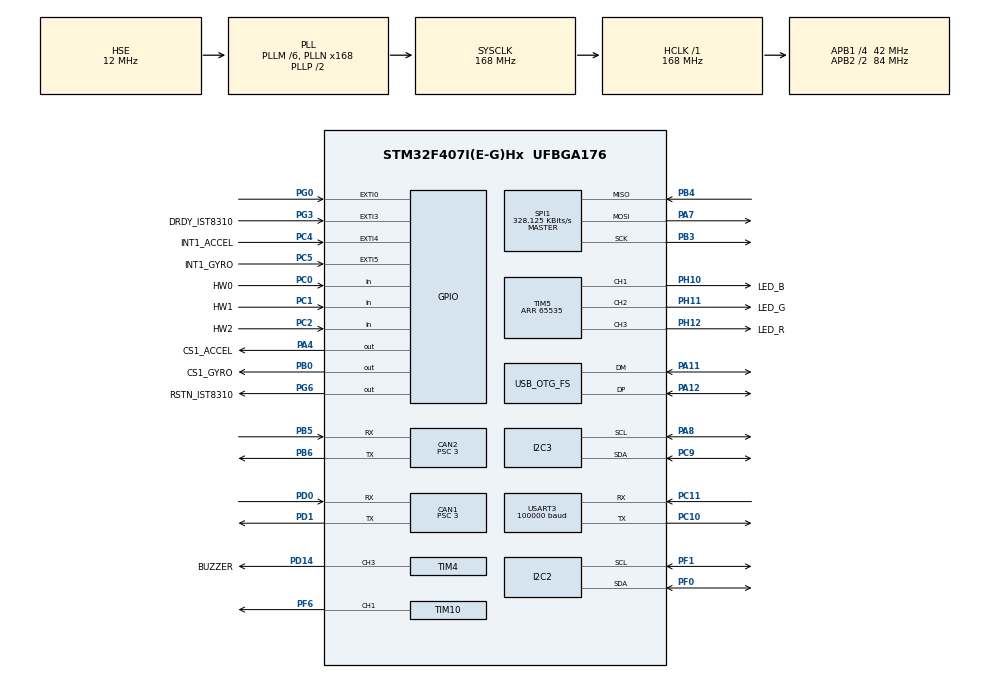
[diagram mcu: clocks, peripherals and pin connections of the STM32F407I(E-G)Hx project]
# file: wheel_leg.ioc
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CAN1.BS1=CAN_BS1_10TQ
CAN1.BS2=CAN_BS2_3TQ
CAN1.CalculateBaudRate=1000000
CAN1.CalculateTimeBit=1000
CAN1.CalculateTimeQuantum=71.42857142857143
CAN1.NART=ENABLE
CAN1.Prescaler=3
CAN2.BS1=CAN_BS1_10TQ
CAN2.BS2=CAN_BS2_3TQ
CAN2.CalculateBaudRate=1000000
CAN2.CalculateTimeBit=1000
CAN2.CalculateTimeQuantum=71.42857142857143
CAN2.NART=ENABLE
CAN2.Prescaler=3
Dma.Request0=USART3_RX
Dma.Request1=SPI1_RX
Dma.Request2=SPI1_TX
Dma.SPI1_RX.1.Direction=DMA_PERIPH_TO_MEMORY
Dma.SPI1_RX.1.FIFOMode=DMA_FIFOMODE_DISABLE
Dma.SPI1_RX.1.Instance=DMA2_Stream2
Dma.SPI1_RX.1.MemDataAlignment=DMA_MDATAALIGN_BYTE
Dma.SPI1_RX.1.MemInc=DMA_MINC_ENABLE
Dma.SPI1_RX.1.Mode=DMA_NORMAL
Dma.SPI1_RX.1.PeriphDataAlignment=DMA_PDATAALIGN_BYTE
Dma.SPI1_RX.1.PeriphInc=DMA_PINC_DISABLE
Dma.SPI1_RX.1.Priority=DMA_PRIORITY_VERY_HIGH
Dma.SPI1_TX.2.Direction=DMA_MEMORY_TO_PERIPH
Dma.SPI1_TX.2.FIFOMode=DMA_FIFOMODE_DISABLE
Dma.SPI1_TX.2.Instance=DMA2_Stream3
Dma.SPI1_TX.2.MemDataAlignment=DMA_MDATAALIGN_BYTE
Dma.SPI1_TX.2.MemInc=DMA_MINC_ENABLE
Dma.SPI1_TX.2.Mode=DMA_NORMAL
Dma.SPI1_TX.2.PeriphDataAlignment=DMA_PDATAALIGN_BYTE
Dma.SPI1_TX.2.PeriphInc=DMA_PINC_DISABLE
Dma.SPI1_TX.2.Priority=DMA_PRIORITY_HIGH
Dma.USART3_RX.0.Direction=DMA_PERIPH_TO_MEMORY
Dma.USART3_RX.0.FIFOMode=DMA_FIFOMODE_DISABLE
Dma.USART3_RX.0.Instance=DMA1_Stream1
Dma.USART3_RX.0.MemDataAlignment=DMA_MDATAALIGN_BYTE
Dma.USART3_RX.0.MemInc=DMA_MINC_ENABLE
Dma.USART3_RX.0.Mode=DMA_NORMAL
Dma.USART3_RX.0.PeriphDataAlignment=DMA_PDATAALIGN_BYTE
Dma.USART3_RX.0.PeriphInc=DMA_PINC_DISABLE
Dma.USART3_RX.0.Priority=DMA_PRIORITY_VERY_HIGH
FREERTOS.INCLUDE_eTaskGetState=1
FREERTOS.INCLUDE_pcTaskGetTaskName=1
FREERTOS.INCLUDE_uxTaskGetStackHighWaterMark=1
FREERTOS.INCLUDE_uxTaskGetStackHighWaterMark2=0
FREERTOS.INCLUDE_vTaskCleanUpResources=1
FREERTOS.INCLUDE_vTaskDelayUntil=1
FREERTOS.INCLUDE_xEventGroupSetBitFromISR=1
FREERTOS.INCLUDE_xQueueGetMutexHolder=1
FREERTOS.INCLUDE_xSemaphoreGetMutexHolder=1
FREERTOS.INCLUDE_xTaskAbortDelay=1
FREERTOS.INCLUDE_xTaskGetCurrentTaskHandle=1
FREERTOS.INCLUDE_xTaskGetHandle=1
FREERTOS.INCLUDE_xTimerPendFunctionCall=1
FREERTOS.Tasks01=defaultTask,0,128,StartDefaultTask,Default,NULL,Dynamic,NULL,NULL
FREERTOS.configENABLE_FPU=1
FREERTOS.configGENERATE_RUN_TIME_STATS=0
FREERTOS.configTOTAL_HEAP_SIZE=24576
FREERTOS.configUSE_NEWLIB_REENTRANT=1
FREERTOS.configUSE_TIMERS=1
I2C3.I2C_Mode=I2C_Fast
Mcu.Family=STM32F4
Mcu.Name=STM32F407I(E-G)Hx
Mcu.Package=UFBGA176
NVIC.CAN1_RX0_IRQn=true\:5\:0\:false\:false\:true\:true\:true\:true\:true
NVIC.CAN1_TX_IRQn=true\:5\:0\:false\:false\:true\:true\:true\:true\:true
NVIC.CAN2_RX0_IRQn=true\:5\:0\:false\:false\:true\:true\:true\:true\:true
NVIC.CAN2_TX_IRQn=true\:5\:0\:false\:false\:true\:true\:true\:true\:true
NVIC.DMA1_Stream1_IRQn=true\:5\:0\:false\:false\:true\:true\:false\:true\:true
NVIC.DMA2_Stream2_IRQn=true\:5\:0\:false\:false\:true\:false\:false\:true\:true
NVIC.DMA2_Stream3_IRQn=true\:5\:0\:false\:false\:true\:true\:false\:true\:true
NVIC.EXTI0_IRQn=true\:5\:0\:false\:false\:true\:true\:true\:true\:true
NVIC.EXTI3_IRQn=true\:5\:0\:false\:false\:true\:true\:true\:true\:true
NVIC.EXTI4_IRQn=true\:5\:0\:false\:false\:true\:true\:true\:true\:true
NVIC.EXTI9_5_IRQn=true\:5\:0\:false\:false\:true\:false\:true\:true\:true
NVIC.OTG_FS_IRQn=true\:5\:0\:false\:false\:true\:true\:false\:true\:true
NVIC.PriorityGroup=NVIC_PRIORITYGROUP_4
NVIC.TIM2_IRQn=true\:15\:0\:false\:false\:true\:false\:false\:true\:true
NVIC.TimeBase=TIM2_IRQn
NVIC.TimeBaseIP=TIM2
NVIC.USART3_IRQn=true\:5\:0\:false\:false\:false\:true\:true\:true\:true
PA11.Mode=Device_Only
PA11.Signal=USB_OTG_FS_DM
PA12.Mode=Device_Only
PA12.Signal=USB_OTG_FS_DP
PA13.Mode=Serial_Wire
PA13.Signal=SYS_JTMS-SWDIO
PA14.Mode=Serial_Wire
PA14.Signal=SYS_JTCK-SWCLK
PA4.GPIO_Label=CS1_ACCEL
PA4.GPIO_PuPd=GPIO_PULLUP
PA4.GPIO_Speed=GPIO_SPEED_FREQ_HIGH
PA4.PinState=GPIO_PIN_SET
PA4.Signal=GPIO_Output
PA7.Mode=Full_Duplex_Master
PA7.Signal=SPI1_MOSI
PA8.Mode=I2C
PA8.Signal=I2C3_SCL
PB0.GPIO_Label=CS1_GYRO
PB0.GPIO_PuPd=GPIO_PULLUP
PB0.GPIO_Speed=GPIO_SPEED_FREQ_HIGH
PB0.PinState=GPIO_PIN_SET
PB0.Signal=GPIO_Output
PB3.Mode=Full_Duplex_Master
PB3.Signal=SPI1_SCK
PB4.Mode=Full_Duplex_Master
PB4.Signal=SPI1_MISO
PB5.Mode=CAN_Activate
PB5.Signal=CAN2_RX
PB6.Mode=CAN_Activate
PB6.Signal=CAN2_TX
PC0.GPIO_Label=HW0
PC0.Signal=GPIO_Input
PC1.GPIO_Label=HW1
PC1.Signal=GPIO_Input
PC10.Mode=Asynchronous
PC10.Signal=USART3_TX
PC11.Mode=Asynchronous
PC11.Signal=USART3_RX
PC2.GPIO_Label=HW2
PC2.Signal=GPIO_Input
PC4.GPIO_Label=INT1_ACCEL
PC4.GPIO_ModeDefaultEXTI=GPIO_MODE_IT_FALLING
PC4.GPIO_PuPd=GPIO_PULLUP
PC4.Signal=GPXTI4
PC5.GPIO_Label=INT1_GYRO
PC5.GPIO_ModeDefaultEXTI=GPIO_MODE_IT_FALLING
PC5.GPIO_PuPd=GPIO_PULLUP
PC5.Signal=GPXTI5
PC9.Mode=I2C
PC9.Signal=I2C3_SDA
PD0.Mode=CAN_Activate
PD0.Signal=CAN1_RX
PD1.Mode=CAN_Activate
PD1.Signal=CAN1_TX
PD14.GPIO_Label=BUZZER
PD14.GPIO_PuPd=GPIO_PULLUP
PD14.GPIO_Speed=GPIO_SPEED_FREQ_VERY_HIGH
PD14.Signal=S_TIM4_CH3
PF0.Mode=I2C
PF0.Signal=I2C2_SDA
PF1.Mode=I2C
PF1.Signal=I2C2_SCL
PF6.GPIO_PuPd=GPIO_PULLUP
PF6.GPIO_Speed=GPIO_SPEED_FREQ_HIGH
PF6.Signal=S_TIM10_CH1
PG0.GPIO_ModeDefaultEXTI=GPIO_MODE_IT_FALLING
PG0.GPIO_PuPd=GPIO_PULLUP
PG0.Signal=GPXTI0
PG3.GPIO_Label=DRDY_IST8310
PG3.GPIO_ModeDefaultEXTI=GPIO_MODE_IT_FALLING
PG3.GPIO_PuPd=GPIO_PULLUP
PG3.Signal=GPXTI3
PG6.GPIO_Label=RSTN_IST8310
PG6.GPIO_ModeDefaultOutputPP=GPIO_MODE_OUTPUT_PP
PG6.GPIO_PuPd=GPIO_PULLUP
PG6.GPIO_Speed=GPIO_SPEED_FREQ_MEDIUM
PG6.PinState=GPIO_PIN_SET
PG6.Signal=GPIO_Output
PH0-OSC_IN.Mode=HSE-External-Oscillator
PH0-OSC_IN.Signal=RCC_OSC_IN
PH1-OSC_OUT.Mode=HSE-External-Oscillator
PH1-OSC_OUT.Signal=RCC_OSC_OUT
PH10.GPIO_Label=LED_B
PH10.GPIO_PuPd=GPIO_PULLUP
PH10.GPIO_Speed=GPIO_SPEED_FREQ_HIGH
PH10.Signal=S_TIM5_CH1
PH11.GPIO_Label=LED_G
PH11.GPIO_PuPd=GPIO_PULLUP
PH11.GPIO_Speed=GPIO_SPEED_FREQ_HIGH
PH11.Signal=S_TIM5_CH2
PH12.GPIO_Label=LED_R
PH12.GPIO_PuPd=GPIO_PULLUP
PH12.GPIO_Speed=GPIO_SPEED_FREQ_HIGH
PH12.Signal=S_TIM5_CH3
ProjectManager.HeapSize=0x1000
ProjectManager.StackSize=0x1000
ProjectManager.TargetToolchain=STM32CubeIDE
RCC.48MHZClocksFreq_Value=48000000
RCC.AHBFreq_Value=168000000
RCC.APB1CLKDivider=RCC_HCLK_DIV4
RCC.APB1Freq_Value=42000000
RCC.APB1TimFreq_Value=84000000
RCC.APB2CLKDivider=RCC_HCLK_DIV2
RCC.APB2Freq_Value=84000000
RCC.APB2TimFreq_Value=168000000
RCC.CortexFreq_Value=168000000
RCC.HCLKFreq_Value=168000000
RCC.HSE_VALUE=12000000
RCC.HSI_VALUE=16000000
RCC.LSE_VALUE=32768
RCC.PLLM=6
RCC.PLLN=168
RCC.PLLQ=7
RCC.SYSCLKFreq_VALUE=168000000
RCC.SYSCLKSource=RCC_SYSCLKSOURCE_PLLCLK
RCC.VCOOutputFreq_Value=336000000
SH.S_TIM10_CH1.0=TIM10_CH1,PWM Generation1 CH1
SH.S_TIM4_CH3.0=TIM4_CH3,PWM Generation3 CH3
SH.S_TIM5_CH1.0=TIM5_CH1,PWM Generation1 CH1
SH.S_TIM5_CH2.0=TIM5_CH2,PWM Generation2 CH2
SH.S_TIM5_CH3.0=TIM5_CH3,PWM Generation3 CH3
SPI1.BaudRatePrescaler=SPI_BAUDRATEPRESCALER_256
SPI1.CLKPhase=SPI_PHASE_2EDGE
SPI1.CLKPolarity=SPI_POLARITY_HIGH
SPI1.CalculateBaudRate=328.125 KBits/s
SPI1.Direction=SPI_DIRECTION_2LINES
SPI1.Mode=SPI_MODE_MASTER
SPI1.VirtualType=VM_MASTER
STMicroelectronics.X-CUBE-ALGOBUILD.1.3.0.LibraryCcDSPOoLibraryJjDSPOoLibrary=true
TIM10.Channel=TIM_CHANNEL_1
TIM10.Period=4999
TIM10.Prescaler=0
TIM4.Channel-PWM\ Generation3\ CH3=TIM_CHANNEL_3
TIM4.Prescaler=167
TIM5.Channel-PWM\ Generation1\ CH1=TIM_CHANNEL_1
TIM5.Channel-PWM\ Generation2\ CH2=TIM_CHANNEL_2
TIM5.Channel-PWM\ Generation3\ CH3=TIM_CHANNEL_3
TIM5.Period=65535
USART3.BaudRate=100000
USART3.Parity=PARITY_EVEN
USART3.VirtualMode=VM_ASYNC
USB_DEVICE.CLASS_NAME_FS=CDC
USB_DEVICE.VirtualMode-CDC_FS=Cdc
USB_DEVICE.VirtualModeFS=Cdc_FS
USB_OTG_FS.VirtualMode=Device_Only
VP_FREERTOS_VS_CMSIS_V1.Mode=CMSIS_V1
VP_STMicroelectronics.X-CUBE-ALGOBUILD_VS_DSPOoLibraryJjLibrary_1.3.0_1.3.0.Mode=DSPOoLibraryJjLibrary
VP_SYS_VS_tim2.Mode=TIM2
VP_TIM10_VS_ClockSourceINT.Mode=Enable_Timer
VP_TIM4_VS_ClockSourceINT.Mode=Internal
VP_TIM5_VS_ClockSourceINT.Mode=Internal
VP_USB_DEVICE_VS_USB_DEVICE_CDC_FS.Mode=CDC_FS
board=custom

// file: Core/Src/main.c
/* USER CODE BEGIN Header */
/**
  ******************************************************************************
  * @file           : main.c
  * @brief          : Main program body
  ******************************************************************************
  * @attention
  *
  * Copyright (c) 2024 STMicroelectronics.
  * All rights reserved.
  *
  * This software is licensed under terms that can be found in the LICENSE file
  * in the root directory of this software component.
  * If no LICENSE file comes with this software, it is provided AS-IS.
  *
  ******************************************************************************
  */
/* USER CODE END Header */
#include "main.h"
#include "cmsis_os.h"
#include "can.h"
#include "dma.h"
#include "i2c.h"
#include "spi.h"
#include "tim.h"
#include "usart.h"
#include "usb_device.h"
#include "gpio.h"

/* USER CODE BEGIN Includes */
#include "delay.h"
#include "can_device.h"
#include "remote.h"
/* USER CODE END Includes */

void SystemClock_Config(void);
void MX_FREERTOS_Init(void);

int main(void)
{

  /* MCU Configuration--------------------------------------------------------*/

  /* Reset of all peripherals, Initializes the Flash interface and the Systick. */
  HAL_Init();

  /* Configure the system clock */
  SystemClock_Config();

  /* Initialize all configured peripherals */
  MX_GPIO_Init();
  MX_DMA_Init();
  MX_USART3_UART_Init();
  MX_CAN1_Init();
  MX_CAN2_Init();
  MX_SPI1_Init();
  MX_I2C3_Init();
  MX_TIM4_Init();
  MX_TIM5_Init();
  MX_TIM10_Init();
  MX_I2C2_Init();
  /* USER CODE BEGIN 2 */
  can_filter_init();
  delay_init();
  remote_control_init();
  /* USER CODE END 2 */

  /* Call init function for freertos objects (in freertos.c) */
  MX_FREERTOS_Init();

  /* Start scheduler */
  osKernelStart();

  /* We should never get here as control is now taken by the scheduler */
  /* Infinite loop */
  while (1)
  {

  }
}

void SystemClock_Config(void)
{
  RCC_OscInitTypeDef RCC_OscInitStruct = {0};
  RCC_ClkInitTypeDef RCC_ClkInitStruct = {0};

  /** Configure the main internal regulator output voltage
  */
  __HAL_RCC_PWR_CLK_ENABLE();
  __HAL_PWR_VOLTAGESCALING_CONFIG(PWR_REGULATOR_VOLTAGE_SCALE1);

  /** Initializes the RCC Oscillators according to the specified parameters
  * in the RCC_OscInitTypeDef structure.
  */
  RCC_OscInitStruct.OscillatorType = RCC_OSCILLATORTYPE_HSE;
  RCC_OscInitStruct.HSEState = RCC_HSE_ON;
  RCC_OscInitStruct.PLL.PLLState = RCC_PLL_ON;
  RCC_OscInitStruct.PLL.PLLSource = RCC_PLLSOURCE_HSE;
  RCC_OscInitStruct.PLL.PLLM = 6;
  RCC_OscInitStruct.PLL.PLLN = 168;
  RCC_OscInitStruct.PLL.PLLP = RCC_PLLP_DIV2;
  RCC_OscInitStruct.PLL.PLLQ = 7;
  if (HAL_RCC_OscConfig(&RCC_OscInitStruct) != HAL_OK)
  {
    Error_Handler();
  }

  /** Initializes the CPU, AHB and APB buses clocks
  */
  RCC_ClkInitStruct.ClockType = RCC_CLOCKTYPE_HCLK|RCC_CLOCKTYPE_SYSCLK
                              |RCC_CLOCKTYPE_PCLK1|RCC_CLOCKTYPE_PCLK2;
  RCC_ClkInitStruct.SYSCLKSource = RCC_SYSCLKSOURCE_PLLCLK;
  RCC_ClkInitStruct.AHBCLKDivider = RCC_SYSCLK_DIV1;
  RCC_ClkInitStruct.APB1CLKDivider = RCC_HCLK_DIV4;
  RCC_ClkInitStruct.APB2CLKDivider = RCC_HCLK_DIV2;

  if (HAL_RCC_ClockConfig(&RCC_ClkInitStruct, FLASH_LATENCY_5) != HAL_OK)
  {
    Error_Handler();
  }
}

void HAL_TIM_PeriodElapsedCallback(TIM_HandleTypeDef *htim)
{
  if (htim->Instance == TIM2) {
    HAL_IncTick();
  }
}

void Error_Handler(void)
{
  __disable_irq();
  while (1)
  {
  }
}

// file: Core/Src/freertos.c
/* USER CODE BEGIN Header */
/**
  ******************************************************************************
  * File Name          : freertos.c
  * Description        : Code for freertos applications
  ******************************************************************************
  * @attention
  *
  * Copyright (c) 2024 STMicroelectronics.
  * All rights reserved.
  *
  * This software is licensed under terms that can be found in the LICENSE file
  * in the root directory of this software component.
  * If no LICENSE file comes with this software, it is provided AS-IS.
  *
  ******************************************************************************
  */
/* USER CODE END Header */

#include "FreeRTOS.h"
#include "task.h"
#include "main.h"
#include "cmsis_os.h"

/* USER CODE BEGIN Includes */
#include "Atti.h"
#include "Calibrate.h"
#include "chassis.h"
#include "gimbal_communication.h"
/* USER CODE END Includes */

/* USER CODE BEGIN Variables */
osThreadId attiTaskHandle;
osThreadId calibrateTaskHandle;
osThreadId chassisTaskHandle;
osThreadId gimbalTaskHandle;
/* USER CODE END Variables */
osThreadId defaultTaskHandle;

void StartDefaultTask(void const * argument);

extern void MX_USB_DEVICE_Init(void);
void MX_FREERTOS_Init(void); /* (MISRA C 2004 rule 8.1) */

/* GetIdleTaskMemory prototype (linked to static allocation support) */
void vApplicationGetIdleTaskMemory( StaticTask_t **ppxIdleTaskTCBBuffer, StackType_t **ppxIdleTaskStackBuffer, uint32_t *pulIdleTaskStackSize );

/* GetTimerTaskMemory prototype (linked to static allocation support) */
void vApplicationGetTimerTaskMemory( StaticTask_t **ppxTimerTaskTCBBuffer, StackType_t **ppxTimerTaskStackBuffer, uint32_t *pulTimerTaskStackSize );

/* USER CODE BEGIN GET_IDLE_TASK_MEMORY */
static StaticTask_t xIdleTaskTCBBuffer;
static StackType_t xIdleStack[configMINIMAL_STACK_SIZE];

void vApplicationGetIdleTaskMemory(StaticTask_t **ppxIdleTaskTCBBuffer,
                                   StackType_t **ppxIdleTaskStackBuffer,
                                   uint32_t *pulIdleTaskStackSize) {
  *ppxIdleTaskTCBBuffer = &xIdleTaskTCBBuffer;
  *ppxIdleTaskStackBuffer = &xIdleStack[0];
  *pulIdleTaskStackSize = configMINIMAL_STACK_SIZE;
  /* place for user code */
}
/* USER CODE END GET_IDLE_TASK_MEMORY */

/* USER CODE BEGIN GET_TIMER_TASK_MEMORY */
static StaticTask_t xTimerTaskTCBBuffer;
static StackType_t xTimerStack[configTIMER_TASK_STACK_DEPTH];

void vApplicationGetTimerTaskMemory(StaticTask_t **ppxTimerTaskTCBBuffer,
                                    StackType_t **ppxTimerTaskStackBuffer,
                                    uint32_t *pulTimerTaskStackSize) {
  *ppxTimerTaskTCBBuffer = &xTimerTaskTCBBuffer;
  *ppxTimerTaskStackBuffer = &xTimerStack[0];
  *pulTimerTaskStackSize = configTIMER_TASK_STACK_DEPTH;
  /* place for user code */
}
/* USER CODE END GET_TIMER_TASK_MEMORY */

void MX_FREERTOS_Init(void) {

  /* Create the thread(s) */
  /* definition and creation of defaultTask */
  osThreadDef(defaultTask, StartDefaultTask, osPriorityNormal, 0, 128);
  defaultTaskHandle = osThreadCreate(osThread(defaultTask), NULL);

  /* USER CODE BEGIN RTOS_THREADS */
  osThreadDef(calibrateTask, calibrate_task, osPriorityNormal, 0, 512);
  calibrateTaskHandle = osThreadCreate(osThread(calibrateTask), NULL);

  osThreadDef(attiTask, INS_task, osPriorityNormal, 0, 1024);
  attiTaskHandle = osThreadCreate(osThread(attiTask), NULL);

  osThreadDef(chassisTask, chassis_task, osPriorityNormal, 0, 1024);
  chassisTaskHandle = osThreadCreate(osThread(chassisTask), NULL);

  osThreadDef(gimbalTask, gimbal_task, osPriorityNormal, 0, 1024);
  gimbalTaskHandle = osThreadCreate(osThread(gimbalTask), NULL);

  /* USER CODE END RTOS_THREADS */

}

void StartDefaultTask(void const * argument)
{
  /* init code for USB_DEVICE */
  MX_USB_DEVICE_Init();
  for (;;) {
    osDelay(1);
  }
}
